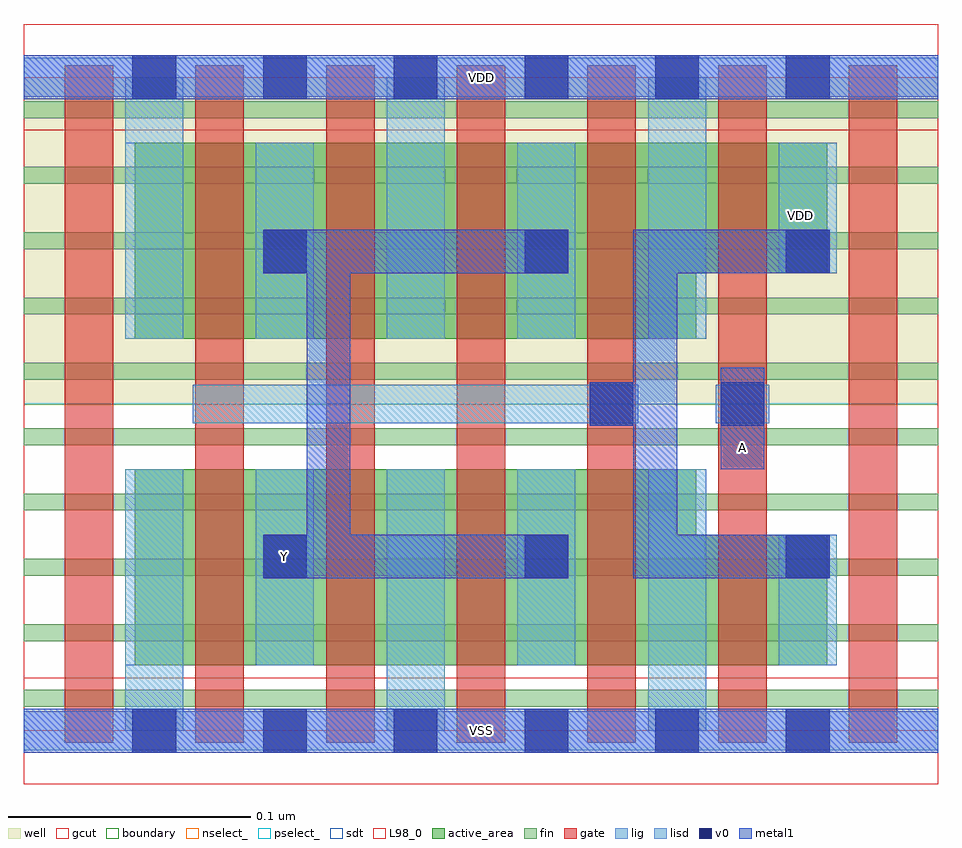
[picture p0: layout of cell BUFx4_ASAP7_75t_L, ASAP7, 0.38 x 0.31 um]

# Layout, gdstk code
import gdstk
lib = gdstk.Library(unit=1e-6, precision=2.5e-10)
def R(c, l, rs):  # rectangles x0, y0, x1, y1
    for r in rs: c.add(gdstk.rectangle(r[:2], r[2:], *l))
def A(c, l, x, y, w, h, nx, ny, dx, dy):  # array of equal rectangles
    R(c, l, [(x+i*dx, y+j*dy, x+i*dx+w, y+j*dy+h) for i in range(nx) for j in range(ny)])
def P(c, l, *ps):  # polygons
    for p in ps: c.add(gdstk.Polygon(p, *l))
well = (1, 0)
fin = (2, 0)
gate = (7, 0)
gcut = (10, 0)
active_area = (11, 0)
nselect_ = (12, 0)
pselect_ = (13, 0)
lig = (16, 0)
lisd = (17, 0)
v0 = (18, 0)
metal1 = (19, 0)
sdt = (88, 0)
L98_0 = (98, 0)
boundary = (100, 0)

bufx4_asap7_75t_l = lib.new_cell('BUFx4_ASAP7_75t_L')
R(bufx4_asap7_75t_l, well, [(0,0.135,0.378,0.27)])
A(bufx4_asap7_75t_l, fin, 0, 0.01, 0.378, 0.007, 1, 10, 0, 0.027)
A(bufx4_asap7_75t_l, gate, 0.017, -0.005, 0.02, 0.28, 7, 1, 0.054, 0)
R(bufx4_asap7_75t_l, gcut, [(0,-0.022,0.378,0.022), (0,0.248,0.378,0.292)])
P(bufx4_asap7_75t_l, active_area, [(0.046,0.027),(0.046,0.108),(0.278,0.108),(0.278,0.081),(0.332,0.081),(0.332,0.027)],
  [(0.046,0.162),(0.046,0.243),(0.332,0.243),(0.332,0.189),(0.278,0.189),(0.278,0.162)])
R(bufx4_asap7_75t_l, nselect_, [(0,0,0.378,0.135)])
R(bufx4_asap7_75t_l, pselect_, [(0,0.135,0.378,0.27)])
R(bufx4_asap7_75t_l, lig, [(0,-0.008,0.378,0.008), (0.07,0.127,0.254,0.143), (0.286,0.127,0.308,0.143), (0,0.262,0.378,0.278)])
A(bufx4_asap7_75t_l, lisd, 0.042, 0, 0.024, 0.108, 3, 2, 0.108, 0.162)
R(bufx4_asap7_75t_l, lisd, [(0.096,0.027,0.12,0.108), (0.204,0.027,0.228,0.108), (0.312,0.027,0.336,0.081), (0.096,0.162,0.12,0.243), (0.204,0.162,0.228,0.243), (0.312,0.189,0.336,0.243)])
A(bufx4_asap7_75t_l, v0, 0.045, -0.009, 0.018, 0.018, 6, 2, 0.054, 0.27)
A(bufx4_asap7_75t_l, v0, 0.099, 0.063, 0.018, 0.018, 3, 2, 0.108, 0.126)
R(bufx4_asap7_75t_l, v0, [(0.234,0.126,0.252,0.144), (0.288,0.126,0.306,0.144)])
R(bufx4_asap7_75t_l, metal1, [(0,-0.009,0.378,0.009), (0.288,0.108,0.306,0.15), (0,0.261,0.378,0.279)])
P(bufx4_asap7_75t_l, metal1, [(0.252,0.063),(0.252,0.126),(0.234,0.126),(0.234,0.144),(0.252,0.144),(0.252,0.207),(0.333,0.207),(0.333,0.189),(0.27,0.189),(0.27,0.081),(0.333,0.081),(0.333,0.063)],
  [(0.099,0.063),(0.099,0.081),(0.117,0.081),(0.117,0.189),(0.099,0.189),(0.099,0.207),(0.225,0.207),(0.225,0.189),(0.135,0.189),(0.135,0.081),(0.225,0.081),(0.225,0.063)])
A(bufx4_asap7_75t_l, sdt, 0.042, 0.027, 0.024, 0.081, 5, 2, 0.054, 0.135)
R(bufx4_asap7_75t_l, sdt, [(0.312,0.027,0.336,0.081), (0.312,0.189,0.336,0.243)])
R(bufx4_asap7_75t_l, L98_0, [(0,0,0.378,0.27)])
R(bufx4_asap7_75t_l, boundary, [(0,0,0.378,0.27)])
bufx4_asap7_75t_l.add(gdstk.Label('Y', (0.108,0.072), layer=19, texttype=251))
bufx4_asap7_75t_l.add(gdstk.Label('A', (0.297,0.117), layer=19, texttype=251))
bufx4_asap7_75t_l.add(gdstk.Label('VSS', (0.189,0), layer=19, texttype=251))
bufx4_asap7_75t_l.add(gdstk.Label('VDD', (0.189,0.27), layer=19, texttype=251))
bufx4_asap7_75t_l.add(gdstk.Label('VDD', (0.321,0.213), layer=1, texttype=251))
bufx4_asap7_75t_l.add(gdstk.Label('VSS', (0.435,0.213), layer=3, texttype=251))

lib.write_gds('BUFx4_ASAP7_75t_L.gds')
